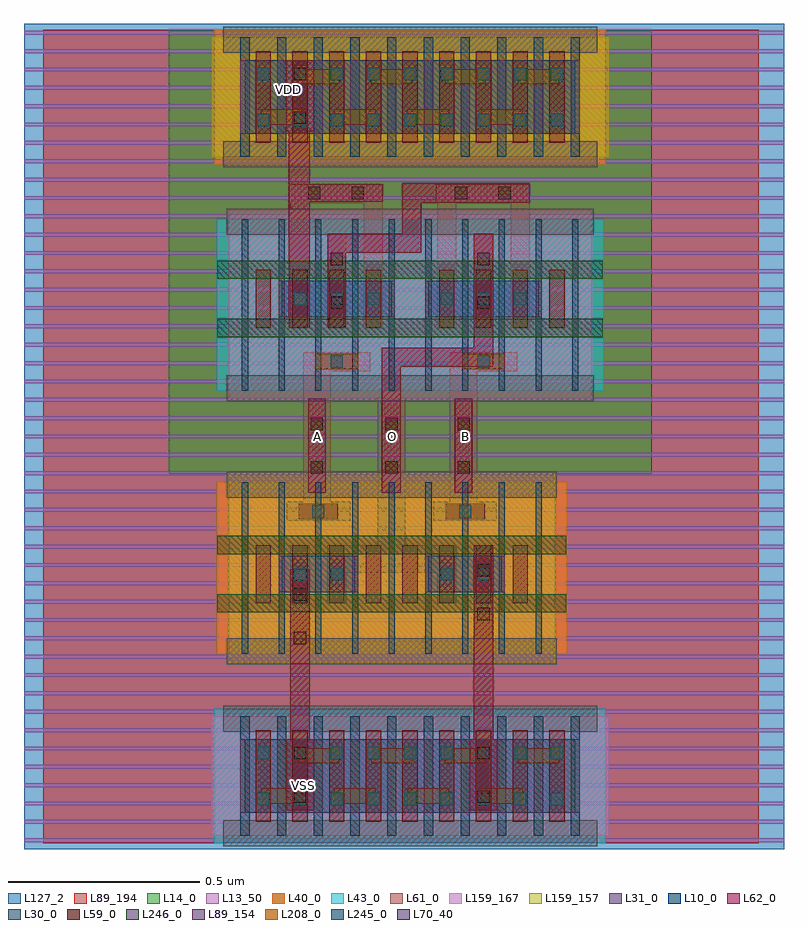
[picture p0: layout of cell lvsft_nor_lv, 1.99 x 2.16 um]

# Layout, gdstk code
from math import pi, radians
import gdstk
lib = gdstk.Library(unit=1e-6, precision=1e-09)
def R(c, l, rs):  # rectangles x0, y0, x1, y1
    for r in rs: c.add(gdstk.rectangle(r[:2], r[2:], *l))
def A(c, l, x, y, w, h, nx, ny, dx, dy):  # array of equal rectangles
    R(c, l, [(x+i*dx, y+j*dy, x+i*dx+w, y+j*dy+h) for i in range(nx) for j in range(ny)])
L10_0 = (10, 0)
L13_50 = (13, 50)
L14_0 = (14, 0)
L30_0 = (30, 0)
L31_0 = (31, 0)
L40_0 = (40, 0)
L43_0 = (43, 0)
L59_0 = (59, 0)
L61_0 = (61, 0)
L62_0 = (62, 0)
L70_40 = (70, 40)
L89_154 = (89, 154)
L89_194 = (89, 194)
L127_2 = (127, 2)
L159_157 = (159, 157)
L159_167 = (159, 167)
L208_0 = (208, 0)
L245_0 = (245, 0)
L246_0 = (246, 0)

ngr_cdns_561517964830 = lib.new_cell('NGR_CDNS_561517964830')
R(ngr_cdns_561517964830, L10_0, [(-0.096,-0.024,0.768,0.168)])
A(ngr_cdns_561517964830, L13_50, -0.176, -0.101, 1.024, 0.01, 1, 8, 0, 0.048)
R(ngr_cdns_561517964830, L14_0, [(-0.176,-0.104,0.848,0.248)])
A(ngr_cdns_561517964830, L30_0, -0.108, -0.084, 0.024, 0.312, 10, 1, 0.096, 0)
R(ngr_cdns_561517964830, L31_0, [(-0.153,-0.112,0.825,-0.044), (-0.153,0.188,0.825,0.256)])
R(ngr_cdns_561517964830, L40_0, [(-0.176,-0.104,0.848,0.248)])
A(ngr_cdns_561517964830, L59_0, -0.068, -0.048, 0.04, 0.24, 9, 1, 0.096, 0)
R(ngr_cdns_561517964830, L61_0, [(-0.096,-0.024,0.768,0.168)])
A(ngr_cdns_561517964830, L89_154, -0.108, -0.024, 0.024, 0.192, 10, 1, 0.096, 0)
R(ngr_cdns_561517964830, L89_194, [(-0.176,-0.104,0.848,0.248)])
R(ngr_cdns_561517964830, L127_2, [(-0.176,-0.12,0.848,0.264)])
R(ngr_cdns_561517964830, L159_157, [(-0.183,-0.084,0.855,0.228)])
A(ngr_cdns_561517964830, L208_0, -0.054, 0, 0.108, 0.04, 4, 1, 0.192, 0)
A(ngr_cdns_561517964830, L208_0, 0.042, 0.105, 0.108, 0.04, 4, 1, 0.192, 0)
A(ngr_cdns_561517964830, L245_0, -0.064, -0.004, 0.032, 0.032, 9, 2, 0.096, 0.12)

n08_ckt_cdns_56151796483 = lib.new_cell('n08_ckt_CDNS_561517964831')
R(n08_ckt_cdns_56151796483, L10_0, [(-0.088,0,0,0.096), (0,0,0.016,0.096), (0.016,0,0.104,0.096)])
A(n08_ckt_cdns_56151796483, L13_50, -0.762, -0.221, 1.54, 0.01, 1, 13, 0, 0.048)
R(n08_ckt_cdns_56151796483, L30_0, [(-0.192,-0.16,-0.176,0.288), (-0.096,-0.16,-0.08,0.288), (0,-0.16,0.016,0), (0.096,-0.16,0.112,0.288), (0.192,-0.16,0.208,0.288), (0,0,0.016,0.096), (0,0.096,0.016,0.288)])
R(n08_ckt_cdns_56151796483, L31_0, [(-0.232,-0.188,0.248,-0.12), (-0.232,0.248,0.248,0.316)])
R(n08_ckt_cdns_56151796483, L40_0, [(-0.258,-0.16,0.274,0.288)])
A(n08_ckt_cdns_56151796483, L59_0, -0.156, -0.028, 0.04, 0.152, 4, 1, 0.096, 0)
R(n08_ckt_cdns_56151796483, L61_0, [(-0.065,-0.028,-0.015,0.124), (0.031,-0.028,0.081,0.124), (-0.075,0.187,0.091,0.237)])
R(n08_ckt_cdns_56151796483, L89_154, [(-0.096,0,-0.08,0.096), (0.096,0,0.112,0.096)])
R(n08_ckt_cdns_56151796483, L89_194, [(-0.712,-0.16,0.728,0.288)])
R(n08_ckt_cdns_56151796483, L127_2, [(-0.762,-0.24,0.778,0.384)])
R(n08_ckt_cdns_56151796483, L159_157, [(-0.227,-0.184,0.243,0.312)])
R(n08_ckt_cdns_56151796483, L208_0, [(-0.043,0.192,0.059,0.232)])
R(n08_ckt_cdns_56151796483, L245_0, [(-0.056,0.032,-0.024,0.064), (0.04,0.032,0.072,0.064), (-0.008,0.196,0.024,0.228)])
R(n08_ckt_cdns_56151796483, L246_0, [(-0.256,-0.052,0.272,-0.004), (-0.256,0.1,0.272,0.148)])
n08_ckt_cdns_56151796483.add(gdstk.Label('& Metric 1.0', (0,0), layer=63, texttype=63))
n08_ckt_cdns_56151796483.add(gdstk.Label('& SMIC 14nm Nand Flash 0.8/1.8V Cadence PDK(ON9A)', (0,0.002), layer=63, texttype=63))
n08_ckt_cdns_56151796483.add(gdstk.Label('& Vendor "Semiconductor manufacturing International Corporation."', (0,0.004), layer=63, texttype=63))

p08_ckt_cdns_56151796483 = lib.new_cell('p08_ckt_CDNS_561517964832')
R(p08_ckt_cdns_56151796483, L10_0, [(-0.088,0,0,0.096), (0,0,0.016,0.096), (0.016,0,0.096,0.096), (0.096,0,0.112,0.096), (0.112,0,0.2,0.096)])
A(p08_ckt_cdns_56151796483, L13_50, -0.714, -0.461, 1.524, 0.01, 1, 22, 0, 0.048)
R(p08_ckt_cdns_56151796483, L14_0, [(-0.384,-0.409,0.496,0.505)])
R(p08_ckt_cdns_56151796483, L30_0, [(-0.192,-0.192,-0.176,0.256), (-0.096,-0.192,-0.08,0.256), (0,-0.192,0.016,0), (0.096,-0.192,0.112,0), (0.192,-0.192,0.208,0.256), (0,0,0.016,0.096), (0.096,0,0.112,0.096), (0,0.096,0.016,0.256), (0.096,0.096,0.112,0.256)])
R(p08_ckt_cdns_56151796483, L31_0, [(-0.232,-0.22,0.248,-0.152), (-0.232,0.216,0.258,0.284)])
R(p08_ckt_cdns_56151796483, L43_0, [(-0.258,-0.192,0.274,0.256)])
A(p08_ckt_cdns_56151796483, L59_0, -0.156, -0.028, 0.04, 0.152, 4, 1, 0.096, 0)
A(p08_ckt_cdns_56151796483, L61_0, -0.065, -0.028, 0.05, 0.152, 3, 1, 0.096, 0)
R(p08_ckt_cdns_56151796483, L61_0, [(-0.032,-0.141,0.144,-0.091)])
R(p08_ckt_cdns_56151796483, L89_154, [(-0.096,0,-0.08,0.096), (0.192,0,0.208,0.096)])
R(p08_ckt_cdns_56151796483, L89_194, [(-0.664,-0.192,0.776,0.256)])
R(p08_ckt_cdns_56151796483, L127_2, [(-0.714,-0.48,0.81,0.576)])
R(p08_ckt_cdns_56151796483, L159_167, [(-0.227,-0.216,0.248,0.28)])
R(p08_ckt_cdns_56151796483, L208_0, [(0,-0.136,0.112,-0.096)])
A(p08_ckt_cdns_56151796483, L245_0, -0.056, 0.032, 0.032, 0.032, 3, 1, 0.096, 0)
R(p08_ckt_cdns_56151796483, L245_0, [(0.04,-0.132,0.072,-0.1)])
R(p08_ckt_cdns_56151796483, L246_0, [(-0.256,-0.052,0.272,-0.004), (-0.256,0.1,0.272,0.148)])
p08_ckt_cdns_56151796483.add(gdstk.Label('& Metric 1.0', (0,0), layer=63, texttype=63))
p08_ckt_cdns_56151796483.add(gdstk.Label('& SMIC 14nm Nand Flash 0.8/1.8V Cadence PDK(ON9A)', (0,0.002), layer=63, texttype=63))
p08_ckt_cdns_56151796483.add(gdstk.Label('& Vendor "Semiconductor manufacturing International Corporation."', (0,0.004), layer=63, texttype=63))

c_p08_ckt_cdns_56151796483 = lib.new_cell('p08_ckt_CDNS_561517964833')
R(c_p08_ckt_cdns_56151796483, L10_0, [(-0.088,0,0,0.096), (0,0,0.016,0.096), (0.016,0,0.096,0.096), (0.096,0,0.112,0.096), (0.112,0,0.2,0.096)])
A(c_p08_ckt_cdns_56151796483, L13_50, -0.714, -0.461, 1.556, 0.01, 1, 22, 0, 0.048)
R(c_p08_ckt_cdns_56151796483, L14_0, [(-0.384,-0.409,0.496,0.505)])
R(c_p08_ckt_cdns_56151796483, L30_0, [(-0.096,-0.192,-0.08,0.256), (0,-0.192,0.016,0), (0.096,-0.192,0.112,0), (0.192,-0.192,0.208,0.256), (0.288,-0.192,0.304,0.256), (0,0,0.016,0.096), (0.096,0,0.112,0.096), (0,0.096,0.016,0.256), (0.096,0.096,0.112,0.256)])
R(c_p08_ckt_cdns_56151796483, L31_0, [(-0.136,-0.22,0.344,-0.152), (-0.136,0.216,0.344,0.284)])
R(c_p08_ckt_cdns_56151796483, L43_0, [(-0.162,-0.192,0.37,0.256)])
A(c_p08_ckt_cdns_56151796483, L59_0, -0.06, -0.028, 0.04, 0.152, 4, 1, 0.096, 0)
A(c_p08_ckt_cdns_56151796483, L61_0, -0.065, -0.028, 0.05, 0.152, 3, 1, 0.096, 0)
R(c_p08_ckt_cdns_56151796483, L61_0, [(-0.032,-0.141,0.144,-0.091)])
R(c_p08_ckt_cdns_56151796483, L89_154, [(-0.096,0,-0.08,0.096), (0.192,0,0.208,0.096)])
R(c_p08_ckt_cdns_56151796483, L89_194, [(-0.664,-0.192,0.776,0.256)])
R(c_p08_ckt_cdns_56151796483, L127_2, [(-0.714,-0.48,0.842,0.576)])
R(c_p08_ckt_cdns_56151796483, L159_167, [(-0.136,-0.216,0.339,0.28)])
R(c_p08_ckt_cdns_56151796483, L208_0, [(0,-0.136,0.112,-0.096)])
A(c_p08_ckt_cdns_56151796483, L245_0, -0.056, 0.032, 0.032, 0.032, 3, 1, 0.096, 0)
R(c_p08_ckt_cdns_56151796483, L245_0, [(0.04,-0.132,0.072,-0.1)])
R(c_p08_ckt_cdns_56151796483, L246_0, [(-0.16,-0.052,0.368,-0.004), (-0.16,0.1,0.368,0.148)])
c_p08_ckt_cdns_56151796483.add(gdstk.Label('& Metric 1.0', (0,0), layer=63, texttype=63))
c_p08_ckt_cdns_56151796483.add(gdstk.Label('& SMIC 14nm Nand Flash 0.8/1.8V Cadence PDK(ON9A)', (0,0.002), layer=63, texttype=63))
c_p08_ckt_cdns_56151796483.add(gdstk.Label('& Vendor "Semiconductor manufacturing International Corporation."', (0,0.004), layer=63, texttype=63))

pgr_cdns_561517964834 = lib.new_cell('PGR_CDNS_561517964834')
R(pgr_cdns_561517964834, L10_0, [(0.288,-0.024,1.152,0.168)])
A(pgr_cdns_561517964834, L13_50, 0.208, -0.101, 1.024, 0.01, 1, 8, 0, 0.048)
A(pgr_cdns_561517964834, L30_0, 0.276, -0.084, 0.024, 0.312, 10, 1, 0.096, 0)
R(pgr_cdns_561517964834, L31_0, [(0.231,-0.112,1.209,-0.044), (0.231,0.188,1.209,0.256)])
R(pgr_cdns_561517964834, L43_0, [(0.208,-0.104,1.232,0.248)])
A(pgr_cdns_561517964834, L59_0, 0.316, -0.048, 0.04, 0.24, 9, 1, 0.096, 0)
R(pgr_cdns_561517964834, L61_0, [(0.288,-0.024,1.152,0.168)])
A(pgr_cdns_561517964834, L89_154, 0.276, -0.024, 0.024, 0.192, 10, 1, 0.096, 0)
R(pgr_cdns_561517964834, L89_194, [(0.208,-0.104,1.232,0.248)])
R(pgr_cdns_561517964834, L127_2, [(0.208,-0.12,1.232,0.264)])
R(pgr_cdns_561517964834, L159_167, [(0.201,-0.084,1.239,0.228)])
A(pgr_cdns_561517964834, L208_0, 0.33, 0, 0.108, 0.04, 4, 1, 0.192, 0)
A(pgr_cdns_561517964834, L208_0, 0.426, 0.105, 0.108, 0.04, 4, 1, 0.192, 0)
A(pgr_cdns_561517964834, L245_0, 0.32, -0.004, 0.032, 0.032, 9, 2, 0.096, 0.12)

c_n08_ckt_cdns_56151796483 = lib.new_cell('n08_ckt_CDNS_561517964835')
R(c_n08_ckt_cdns_56151796483, L10_0, [(-0.088,0,0,0.096), (0,0,0.016,0.096), (0.016,0,0.104,0.096)])
A(c_n08_ckt_cdns_56151796483, L13_50, -0.762, -0.221, 1.54, 0.01, 1, 13, 0, 0.048)
R(c_n08_ckt_cdns_56151796483, L30_0, [(-0.192,-0.16,-0.176,0.288), (-0.096,-0.16,-0.08,0.288), (0,-0.16,0.016,0), (0.096,-0.16,0.112,0.288), (0.192,-0.16,0.208,0.288), (0,0,0.016,0.096), (0,0.096,0.016,0.288)])
R(c_n08_ckt_cdns_56151796483, L31_0, [(-0.232,-0.188,0.248,-0.12), (-0.232,0.248,0.248,0.316)])
R(c_n08_ckt_cdns_56151796483, L40_0, [(-0.258,-0.16,0.274,0.288)])
A(c_n08_ckt_cdns_56151796483, L59_0, -0.156, -0.028, 0.04, 0.152, 4, 1, 0.096, 0)
R(c_n08_ckt_cdns_56151796483, L61_0, [(-0.065,-0.028,-0.015,0.124), (0.031,-0.028,0.081,0.124), (-0.075,0.187,0.091,0.237)])
R(c_n08_ckt_cdns_56151796483, L89_154, [(-0.096,0,-0.08,0.096), (0.096,0,0.112,0.096)])
R(c_n08_ckt_cdns_56151796483, L89_194, [(-0.712,-0.16,0.728,0.288)])
R(c_n08_ckt_cdns_56151796483, L127_2, [(-0.762,-0.24,0.778,0.384)])
R(c_n08_ckt_cdns_56151796483, L159_157, [(-0.227,-0.184,0.243,0.312)])
R(c_n08_ckt_cdns_56151796483, L208_0, [(-0.043,0.192,0.059,0.232)])
R(c_n08_ckt_cdns_56151796483, L245_0, [(-0.056,0.032,-0.024,0.064), (0.04,0.032,0.072,0.064), (-0.008,0.196,0.024,0.228)])
R(c_n08_ckt_cdns_56151796483, L246_0, [(-0.256,-0.052,0.272,-0.004), (-0.256,0.1,0.272,0.148)])
c_n08_ckt_cdns_56151796483.add(gdstk.Label('& Metric 1.0', (0,0), layer=63, texttype=63))
c_n08_ckt_cdns_56151796483.add(gdstk.Label('& SMIC 14nm Nand Flash 0.8/1.8V Cadence PDK(ON9A)', (0,0.002), layer=63, texttype=63))
c_n08_ckt_cdns_56151796483.add(gdstk.Label('& Vendor "Semiconductor manufacturing International Corporation."', (0,0.004), layer=63, texttype=63))

m2_m1_cdns_561517964830 = lib.new_cell('M2_M1_CDNS_561517964830')
R(m2_m1_cdns_561517964830, L61_0, [(-0.093,-0.036,0.093,0.036)])
R(m2_m1_cdns_561517964830, L62_0, [(-0.093,-0.036,0.093,0.036)])
R(m2_m1_cdns_561517964830, L70_40, [(-0.073,-0.016,-0.041,0.016), (0.041,-0.016,0.073,0.016)])

m2_m1_cdns_561517964831 = lib.new_cell('M2_M1_CDNS_561517964831')
R(m2_m1_cdns_561517964831, L61_0, [(-0.023,-0.123,0.023,0.123)])
R(m2_m1_cdns_561517964831, L62_0, [(-0.023,-0.123,0.023,0.123)])
R(m2_m1_cdns_561517964831, L70_40, [(-0.016,-0.073,0.016,-0.041), (-0.016,0.041,0.016,0.073)])

m2_m1_cdns_561517964832 = lib.new_cell('M2_M1_CDNS_561517964832')
R(m2_m1_cdns_561517964832, L61_0, [(-0.123,-0.023,0.123,0.023)])
R(m2_m1_cdns_561517964832, L62_0, [(-0.123,-0.023,0.123,0.023)])
R(m2_m1_cdns_561517964832, L70_40, [(-0.073,-0.016,-0.041,0.016), (0.041,-0.016,0.073,0.016)])

lvsft_nor_lv = lib.new_cell('lvsft_nor_lv')
A(lvsft_nor_lv, L13_50, -0.504, 0.019, 1.988, 0.01, 1, 45, 0, 0.048)
R(lvsft_nor_lv, L14_0, [(-0.126,1.738,1.138,2.144)])
R(lvsft_nor_lv, L61_0, [(0.193,0.487,0.243,0.736), (0.289,1.364,0.339,1.61)])
R(lvsft_nor_lv, L89_194, [(-0.454,0.016,1.418,2.144)])
R(lvsft_nor_lv, L127_2, [(-0.504,0,1.484,2.16)])
lvsft_nor_lv.add(gdstk.FlexPath([(0.41,1.444),(0.41,1.715),(0.218,1.715),(0.218,1.502)], 0.05, ends="flush", simple_path=True, layer=61, datatype=0))  # L61_0
lvsft_nor_lv.add(gdstk.FlexPath([(0.602,1.364),(0.602,1.715),(0.794,1.715),(0.794,1.364)], 0.05, ends="flush", simple_path=True, layer=61, datatype=0))  # L61_0
lvsft_nor_lv.add(gdstk.FlexPath([(0.457,0.742),(0.457,1.181)], 0.072, ends="flush", simple_path=True, layer=61, datatype=0))  # L61_0
lvsft_nor_lv.add(gdstk.FlexPath([(0.262,1.295),(0.262,0.872)], 0.072, ends="flush", simple_path=True, layer=61, datatype=0))  # L61_0
lvsft_nor_lv.add(gdstk.FlexPath([(0.312,0.76),(0.604,0.76)], 0.072, ends="flush", simple_path=True, layer=61, datatype=0))  # L61_0
lvsft_nor_lv.add(gdstk.FlexPath([(0.646,1.299),(0.646,0.872)], 0.072, ends="flush", simple_path=True, layer=61, datatype=0))  # L61_0
lvsft_nor_lv.add(gdstk.FlexPath([(0.218,0.733),(0.218,0.258)], 0.05, ends="flush", simple_path=True, layer=62, datatype=0))  # L62_0
lvsft_nor_lv.add(gdstk.FlexPath([(0.216,2.064),(0.216,1.364)], 0.054, ends="flush", simple_path=True, layer=62, datatype=0))  # L62_0
lvsft_nor_lv.add(gdstk.FlexPath([(0.698,1.61),(0.698,1.287),(0.457,1.287),(0.457,0.933)], 0.05, ends="flush", simple_path=True, layer=62, datatype=0))  # L62_0
lvsft_nor_lv.add(gdstk.FlexPath([(0.318,1.585),(0.51,1.585),(0.51,1.717),(0.819,1.717)], 0.05, ends="flush", simple_path=True, layer=62, datatype=0))  # L62_0
lvsft_nor_lv.add(gdstk.FlexPath([(0.698,0.796),(0.698,0.258)], 0.05, ends="flush", simple_path=True, layer=62, datatype=0))  # L62_0
lvsft_nor_lv.add(gdstk.Reference(ngr_cdns_561517964830, (0.17,1.896)))
lvsft_nor_lv.add(gdstk.Reference(n08_ckt_cdns_56151796483, (0.642,0.672)))
lvsft_nor_lv.add(gdstk.Reference(p08_ckt_cdns_56151796483, (0.258,1.392)))
lvsft_nor_lv.add(gdstk.Reference(c_p08_ckt_cdns_56151796483, (0.642,1.392)))
lvsft_nor_lv.add(gdstk.Reference(pgr_cdns_561517964834, (-0.214,0.12)))
lvsft_nor_lv.add(gdstk.Reference(c_n08_ckt_cdns_56151796483, (0.258,0.672)))
lvsft_nor_lv.add(gdstk.Reference(m2_m1_cdns_561517964830, (0.218,1.971), rotation=pi/2))
lvsft_nor_lv.add(gdstk.Reference(m2_m1_cdns_561517964830, (0.698,0.195), rotation=pi/2))
lvsft_nor_lv.add(gdstk.Reference(m2_m1_cdns_561517964830, (0.218,0.195), rotation=pi/2))
lvsft_nor_lv.add(gdstk.Reference(m2_m1_cdns_561517964831, (0.314,1.487)))
lvsft_nor_lv.add(gdstk.Reference(m2_m1_cdns_561517964831, (0.312,1.717), rotation=3*pi/2))
lvsft_nor_lv.add(gdstk.Reference(m2_m1_cdns_561517964831, (0.698,0.673)))
lvsft_nor_lv.add(gdstk.Reference(m2_m1_cdns_561517964831, (0.262,1.056)))
lvsft_nor_lv.add(gdstk.Reference(m2_m1_cdns_561517964831, (0.218,0.61)))
lvsft_nor_lv.add(gdstk.Reference(m2_m1_cdns_561517964831, (0.646,1.056)))
lvsft_nor_lv.add(gdstk.Reference(m2_m1_cdns_561517964831, (0.457,1.056)))
lvsft_nor_lv.add(gdstk.Reference(m2_m1_cdns_561517964831, (0.698,1.487)))
lvsft_nor_lv.add(gdstk.Reference(m2_m1_cdns_561517964832, (0.696,1.717)))
lvsft_nor_lv.add(gdstk.Label('VSS', (0.226,0.168), layer=61, texttype=250))
lvsft_nor_lv.add(gdstk.Label('VDD', (0.189,1.988), layer=61, texttype=250))
lvsft_nor_lv.add(gdstk.Label('B', (0.652,1.081), layer=62, texttype=250))
lvsft_nor_lv.add(gdstk.Label('A', (0.263,1.081), layer=62, texttype=250))
lvsft_nor_lv.add(gdstk.Label('O', (0.461,1.081), layer=62, texttype=250))

lib.write_gds('lvsft_nor_lv.gds')
